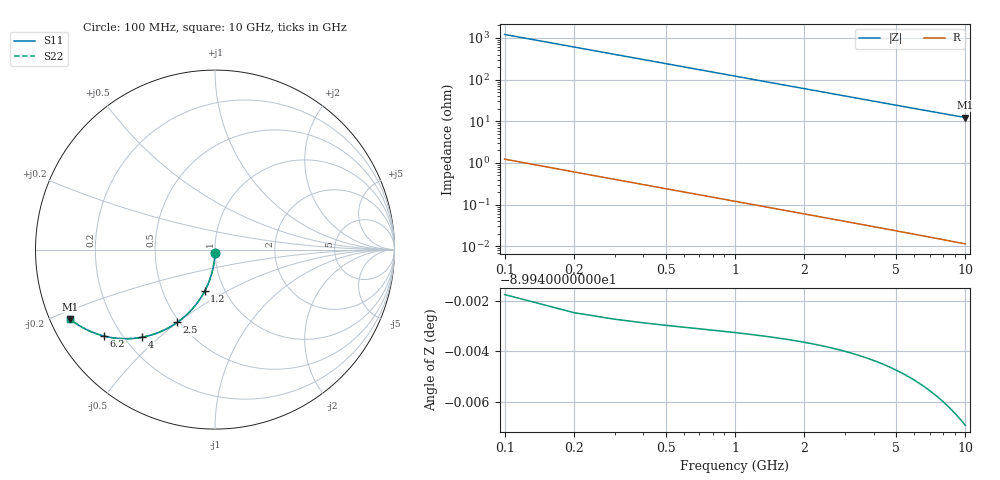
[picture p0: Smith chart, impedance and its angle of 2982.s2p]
# Hz S RI R 50.00
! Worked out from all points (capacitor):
!   100 points, 100 MHz to 10 GHz, reference 50 ohm
!   read as one part in shunt: C = 1.31 pF near 100 MHz
!   lowest |Z| = 12.3 ohm at 10 GHz (marker M1)
!   S11 on the Smith chart (normalised r, x): 100 MHz: 1.00, -0.04; 1.2 GHz: 0.80, -0.40; 2.5 GHz: 0.49, -0.50; 4 GHz: 0.27, -0.44; 6.2 GHz: 0.13, -0.34; 10 GHz: 0.06, -0.23
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1e8  -0.00041 -0.0206  0.9995 -0.0207  0.9995 -0.0207  -0.00041 -0.0206
2e8  -0.0017 -0.0411  0.9982 -0.0413  0.9982 -0.0413  -0.0017 -0.0411
3e8  -0.00384 -0.0614  0.9961 -0.0618  0.9961 -0.0618  -0.00384 -0.0614
4e8  -0.0068 -0.0817  0.9931 -0.0822  0.9931 -0.0822  -0.0068 -0.0817
5e8  -0.0106 -0.1017  0.9893 -0.1023  0.9893 -0.1023  -0.0106 -0.1017
6e8  -0.0152 -0.1215  0.9848 -0.1222  0.9848 -0.1222  -0.0152 -0.1215
7e8  -0.0205 -0.1409  0.9794 -0.1418  0.9794 -0.1418  -0.0205 -0.1409
9e8  -0.0334 -0.1788  0.9665 -0.1799  0.9665 -0.1799  -0.0334 -0.1788
1.2e9  -0.0579 -0.2323  0.9421 -0.2338  0.9421 -0.2338  -0.0579 -0.2323
1.5e9  -0.0875 -0.2812  0.9124 -0.2831  0.9124 -0.2831  -0.0875 -0.2812
1.8e9  -0.1213 -0.3249  0.8786 -0.3271  0.8786 -0.3271  -0.1213 -0.3249
2.1e9  -0.1581 -0.363  0.8418 -0.3657  0.8418 -0.3657  -0.1581 -0.363
2.5e9  -0.2101 -0.4053  0.7898 -0.4085  0.7898 -0.4085  -0.2101 -0.4053
2.9e9  -0.2635 -0.4382  0.7365 -0.4419  0.7365 -0.4419  -0.2635 -0.4382
3.4e9  -0.3295 -0.4674  0.6704 -0.4717  0.6704 -0.4717  -0.3295 -0.4674
4e9  -0.4047 -0.4878  0.5952 -0.4929  0.5952 -0.4929  -0.4047 -0.4878
5.1e9  -0.5248 -0.4957  0.4751 -0.5021  0.4751 -0.5021  -0.5248 -0.4957
6.2e9  -0.6199 -0.481  0.38 -0.4888  0.38 -0.4888  -0.6199 -0.481
6.7e9  -0.6557 -0.4704  0.3442 -0.4789  0.3442 -0.4789  -0.6557 -0.4704
7.5e9  -0.7046 -0.4509  0.2953 -0.4604  0.2953 -0.4604  -0.7046 -0.4509
8.4e9  -0.7495 -0.4274  0.2504 -0.4381  0.2504 -0.4381  -0.7495 -0.4274
1e10  -0.8092 -0.386  0.1907 -0.3988  0.1907 -0.3988  -0.8092 -0.386
